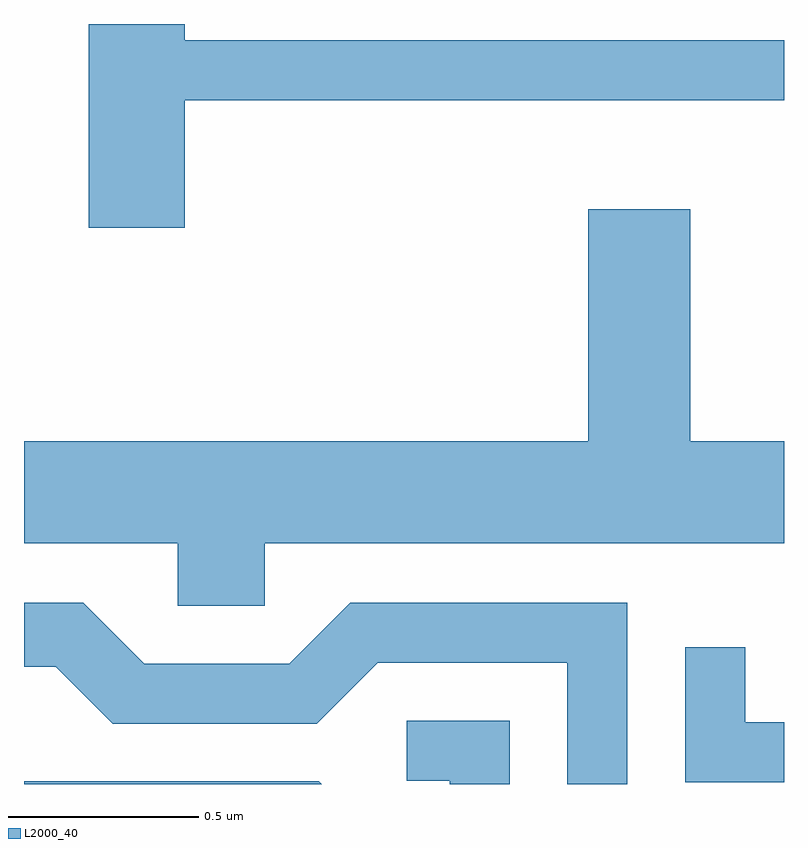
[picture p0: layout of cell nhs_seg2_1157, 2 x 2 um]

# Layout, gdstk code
import gdstk
lib = gdstk.Library(unit=1e-6, precision=1e-09)
def P(c, l, *ps):  # polygons
    for p in ps: c.add(gdstk.Polygon(p, *l))
L2000_40 = (2000, 40)

nhs_seg2_1157 = lib.new_cell('nhs_seg2_1157')
P(nhs_seg2_1157, L2000_40, [(194.034,1040.601),(195.611,1040.601),(195.611,1040.759),(194.034,1040.759),(194.034,1040.802),(193.781,1040.802),(193.781,1040.266),(194.034,1040.266)],
  [(194.244,1039.436),(195.611,1039.436),(195.611,1039.704),(195.364,1039.704),(195.364,1040.314),(195.096,1040.314),(195.096,1039.704),(193.611,1039.704),(193.611,1039.436),(194.016,1039.436),(194.016,1039.271),(194.244,1039.271)],
  [(195.199,1039.279),(194.469,1039.279),(194.309,1039.119),(193.927,1039.119),(193.767,1039.279),(193.611,1039.279),(193.611,1039.111),(193.694,1039.111),(193.844,1038.961),(194.382,1038.961),(194.542,1039.121),(195.041,1039.121),(195.041,1038.802),(195.199,1038.802)],
  [(195.611,1038.964),(195.509,1038.964),(195.509,1039.162),(195.351,1039.162),(195.351,1038.806),(195.611,1038.806)],
  [(194.889,1038.969),(194.618,1038.969),(194.618,1038.811),(194.731,1038.811),(194.731,1038.802),(194.889,1038.802)],
  [(194.387,1038.809),(193.611,1038.809),(193.611,1038.802),(194.394,1038.802)])

lib.write_gds('nhs_seg2_1157.gds')
